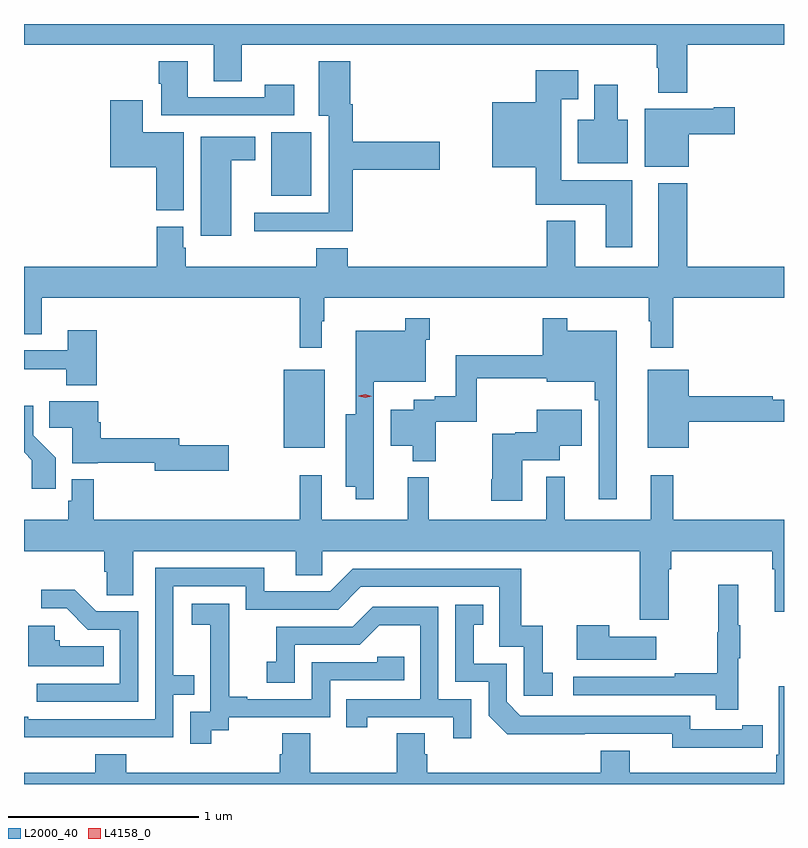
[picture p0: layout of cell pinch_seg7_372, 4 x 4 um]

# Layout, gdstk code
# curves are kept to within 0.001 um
import gdstk
lib = gdstk.Library(unit=1e-6, precision=1e-09)
def R(c, l, rs):  # rectangles x0, y0, x1, y1
    for r in rs: c.add(gdstk.rectangle(r[:2], r[2:], *l))
def P(c, l, *ps):  # polygons
    for p in ps: c.add(gdstk.Polygon(p, *l))
L2000_40 = (2000, 40)
L4158_0 = (4158, 0)

pinch_seg7_372 = lib.new_cell('pinch_seg7_372')
R(pinch_seg7_372, L2000_40, [(436.418,1017.143,436.633,1017.553), (436.352,1018.469,436.564,1018.804)])
P(pinch_seg7_372, L2000_40, [(438.542,1019.264),(439.051,1019.264),(439.051,1019.374),(435.051,1019.374),(435.051,1019.264),(436.049,1019.264),(436.049,1019.074),(436.197,1019.074),(436.197,1019.264),(438.382,1019.264),(438.382,1019.144),(438.389,1019.144),(438.389,1019.012),(438.542,1019.012)],
  [(436.781,1018.607),(437.239,1018.607),(437.239,1018.754),(436.781,1018.754),(436.781,1018.952),(436.768,1018.952),(436.768,1019.179),(436.601,1019.179),(436.601,1018.892),(436.655,1018.892),(436.655,1018.38),(436.263,1018.38),(436.263,1018.283),(436.781,1018.283)],
  [(436.474,1019.053),(436.318,1019.053),(436.318,1018.989),(435.913,1018.989),(435.913,1019.179),(435.761,1019.179),(435.761,1019.059),(435.773,1019.059),(435.773,1018.893),(436.474,1018.893)],
  [(438.253,1018.552),(437.878,1018.552),(437.878,1018.979),(437.968,1018.979),(437.968,1019.131),(437.744,1019.131),(437.744,1018.963),(437.516,1018.963),(437.516,1018.619),(437.744,1018.619),(437.744,1018.424),(438.113,1018.424),(438.113,1018.2),(438.253,1018.2)],
  [(438.229,1018.87),(438.175,1018.87),(438.175,1019.053),(438.053,1019.053),(438.053,1018.87),(437.966,1018.87),(437.966,1018.64),(438.229,1018.64)],
  [(435.892,1018.804),(435.676,1018.804),(435.676,1018.972),(435.506,1018.972),(435.506,1018.619),(435.746,1018.619),(435.746,1018.393),(435.892,1018.393)],
  [(438.55,1018.793),(438.793,1018.793),(438.793,1018.935),(438.68,1018.935),(438.68,1018.927),(438.317,1018.927),(438.317,1018.622),(438.55,1018.622)],
  [(436.141,1018.658),(436.267,1018.658),(436.267,1018.78),(435.98,1018.78),(435.98,1018.26),(436.141,1018.26)],
  [(436.618,1017.809),(436.63,1017.809),(436.63,1017.932),(438.339,1017.932),(438.339,1017.809),(438.35,1017.809),(438.35,1017.669),(438.467,1017.669),(438.467,1017.932),(439.051,1017.932),(439.051,1018.096),(438.542,1018.096),(438.542,1018.537),(438.389,1018.537),(438.389,1018.096),(437.953,1018.096),(437.953,1018.339),(437.801,1018.339),(437.801,1018.096),(436.754,1018.096),(436.754,1018.195),(436.589,1018.195),(436.589,1018.096),(435.902,1018.096),(435.902,1018.197),(435.889,1018.197),(435.889,1018.308),(435.749,1018.308),(435.749,1018.096),(435.051,1018.096),(435.051,1017.742),(435.145,1017.742),(435.145,1017.932),(436.501,1017.932),(436.501,1017.669),(436.618,1017.669)],
  [(438.172,1017.76),(437.911,1017.76),(437.911,1017.826),(437.782,1017.826),(437.782,1017.631),(437.324,1017.631),(437.324,1017.416),(437.214,1017.416),(437.214,1017.396),(437.102,1017.396),(437.102,1017.343),(436.982,1017.343),(436.982,1017.155),(437.096,1017.155),(437.096,1017.074),(437.218,1017.074),(437.218,1017.28),(437.434,1017.28),(437.434,1017.51),(437.801,1017.51),(437.801,1017.491),(438.055,1017.491),(438.055,1017.395),(438.075,1017.395),(438.075,1016.874),(438.172,1016.874)],
  [(436.893,1017.491),(437.166,1017.491),(437.166,1017.713),(437.186,1017.713),(437.186,1017.826),(437.058,1017.826),(437.058,1017.76),(436.796,1017.76),(436.796,1017.319),(436.745,1017.319),(436.745,1016.939),(436.796,1016.939),(436.796,1016.874),(436.893,1016.874)],
  [(435.434,1017.763),(435.281,1017.763),(435.281,1017.657),(435.052,1017.657),(435.052,1017.654),(435.051,1017.654),(435.051,1017.558),(435.274,1017.558),(435.274,1017.473),(435.434,1017.473)],
  [(438.55,1017.28),(439.051,1017.28),(439.051,1017.397),(438.992,1017.397),(438.992,1017.416),(438.55,1017.416),(438.55,1017.553),(438.335,1017.553),(438.335,1017.143),(438.55,1017.143)],
  [(436.129,1017.158),(435.868,1017.158),(435.868,1017.194),(435.455,1017.194),(435.455,1017.278),(435.442,1017.278),(435.442,1017.388),(435.184,1017.388),(435.184,1017.25),(435.305,1017.25),(435.305,1017.062),(435.438,1017.062),(435.438,1017.066),(435.74,1017.066),(435.74,1017.023),(436.129,1017.023)],
  [(435.218,1017.09),(435.099,1017.209),(435.099,1017.364),(435.051,1017.364),(435.051,1017.121),(435.093,1017.079),(435.093,1016.928),(435.218,1016.928)],
  [(437.674,1017.077),(437.872,1017.077),(437.872,1017.155),(437.986,1017.155),(437.986,1017.343),(437.75,1017.343),(437.75,1017.225),(437.637,1017.225),(437.637,1017.217),(437.516,1017.217),(437.516,1016.977),(437.509,1016.977),(437.509,1016.865),(437.674,1016.865)],
  [(438.35,1016.764),(437.897,1016.764),(437.897,1016.992),(437.799,1016.992),(437.799,1016.764),(437.182,1016.764),(437.182,1016.989),(437.072,1016.989),(437.072,1016.764),(436.617,1016.764),(436.617,1016.998),(436.501,1016.998),(436.501,1016.764),(435.419,1016.764),(435.419,1016.977),(435.303,1016.977),(435.303,1016.865),(435.283,1016.865),(435.283,1016.764),(435.051,1016.764),(435.051,1016.6),(435.473,1016.6),(435.473,1016.491),(435.486,1016.491),(435.486,1016.368),(435.625,1016.368),(435.625,1016.6),(436.481,1016.6),(436.481,1016.473),(436.62,1016.473),(436.62,1016.6),(438.293,1016.6),(438.293,1016.238),(438.445,1016.238),(438.445,1016.504),(438.458,1016.504),(438.458,1016.6),(438.989,1016.6),(438.989,1016.504),(439.001,1016.504),(439.001,1016.28),(439.051,1016.28),(439.051,1016.764),(438.467,1016.764),(438.467,1016.998),(438.35,1016.998)],
  [(435.341,1015.62),(435.837,1015.62),(435.837,1015.845),(435.947,1015.845),(435.947,1015.946),(435.837,1015.946),(435.837,1016.415),(436.218,1016.415),(436.218,1016.292),(436.704,1016.292),(436.824,1016.412),(437.553,1016.412),(437.553,1016.097),(437.682,1016.097),(437.682,1015.839),(437.833,1015.839),(437.833,1015.959),(437.78,1015.959),(437.78,1016.206),(437.669,1016.206),(437.669,1016.508),(436.782,1016.508),(436.662,1016.388),(436.315,1016.388),(436.315,1016.511),(435.741,1016.511),(435.741,1015.716),(435.073,1015.716),(435.073,1015.729),(435.051,1015.729),(435.051,1015.619)],
  [(438.809,1016.035),(438.82,1016.035),(438.82,1016.209),(438.809,1016.209),(438.809,1016.422),(438.706,1016.422),(438.706,1016.172),(438.699,1016.172),(438.699,1015.958),(438.475,1015.958),(438.475,1015.938),(437.943,1015.938),(437.943,1015.842),(438.691,1015.842),(438.691,1015.764),(438.809,1015.764)],
  [(435.651,1016.283),(435.432,1016.283),(435.319,1016.396),(435.141,1016.396),(435.141,1016.298),(435.275,1016.298),(435.386,1016.187),(435.555,1016.187),(435.555,1015.902),(435.117,1015.902),(435.117,1015.806),(435.651,1015.806)],
  [(436.036,1015.657),(436.128,1015.657),(436.128,1015.725),(436.662,1015.725),(436.662,1015.92),(437.051,1015.92),(437.051,1016.043),(436.911,1016.043),(436.911,1016.016),(436.566,1016.016),(436.566,1015.821),(436.225,1015.821),(436.225,1015.834),(436.13,1015.834),(436.13,1016.117),(436.131,1016.117),(436.131,1016.323),(435.933,1016.323),(435.933,1016.213),(436.031,1016.213),(436.031,1015.985),(436.032,1015.985),(436.032,1015.755),(435.927,1015.755),(435.927,1015.587),(436.036,1015.587)],
  [(438.83,1015.566),(438.938,1015.566),(438.938,1015.682),(438.83,1015.682),(438.83,1015.662),(438.558,1015.662),(438.558,1015.734),(437.664,1015.734),(437.592,1015.806),(437.592,1016.007),(437.419,1016.007),(437.419,1016.211),(437.468,1016.211),(437.468,1016.317),(437.322,1016.317),(437.322,1015.911),(437.496,1015.911),(437.496,1015.734),(437.594,1015.637),(438.462,1015.638),(438.462,1015.565)],
  [(437.406,1015.821),(437.232,1015.821),(437.232,1016.307),(436.886,1016.307),(436.781,1016.202),(436.378,1016.202),(436.378,1016.017),(436.329,1016.017),(436.329,1015.908),(436.476,1015.908),(436.476,1016.106),(436.818,1016.106),(436.922,1016.21),(437.136,1016.21),(437.136,1015.821),(436.747,1015.821),(436.747,1015.674),(436.858,1015.674),(436.858,1015.725),(437.309,1015.725),(437.309,1015.614),(437.406,1015.614)],
  [(438.379,1016.149),(438.131,1016.149),(438.131,1016.209),(437.96,1016.209),(437.96,1016.027),(438.379,1016.027)],
  [(435.47,1016.098),(435.24,1016.098),(435.24,1016.13),(435.213,1016.13),(435.213,1016.206),(435.074,1016.206),(435.074,1015.994),(435.47,1015.994)],
  [(439.051,1015.888),(439.023,1015.888),(439.023,1015.528),(439.01,1015.528),(439.01,1015.432),(438.238,1015.432),(438.238,1015.549),(438.086,1015.549),(438.086,1015.432),(437.174,1015.432),(437.174,1015.53),(437.161,1015.53),(437.161,1015.64),(437.014,1015.64),(437.014,1015.432),(436.557,1015.432),(436.557,1015.64),(436.409,1015.64),(436.409,1015.53),(436.397,1015.53),(436.397,1015.432),(435.59,1015.432),(435.59,1015.531),(435.425,1015.531),(435.425,1015.432),(435.051,1015.432),(435.051,1015.374),(439.051,1015.374)])
P(pinch_seg7_372, L4158_0, [(436.847,1017.406),(436.812,1017.416),(436.812,1017.416),(436.812,1017.417),(436.847,1017.426),(436.881,1017.416),(436.881,1017.416),(436.881,1017.416)])

lib.write_gds('pinch_seg7_372.gds')
